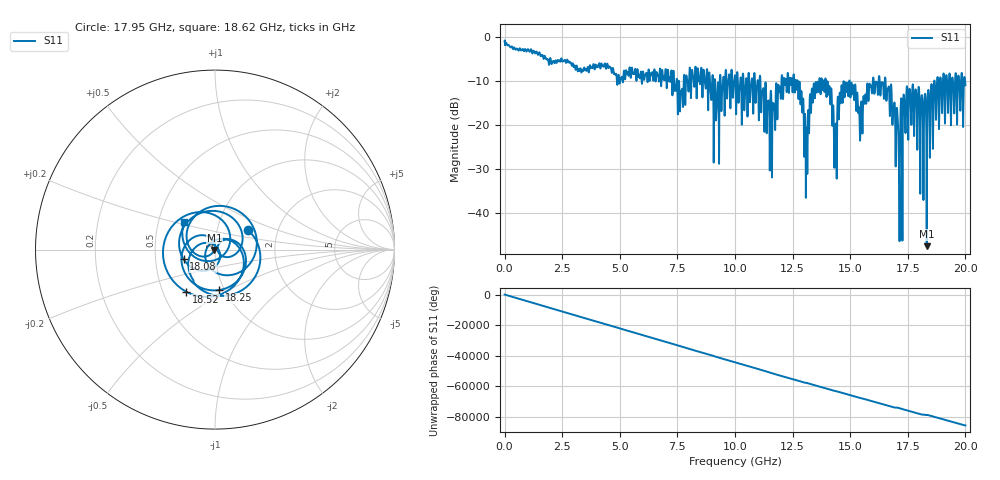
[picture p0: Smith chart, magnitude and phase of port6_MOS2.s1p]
! MS46122B
! 2250307/22442219
! 6/16/2025 12:57:20 PM
! C:\USERS\SPARKY\DOCUMENTS\VNA_DATA\JUNE16_2025\295K\PORT6_MOS2.S1P
! CHANNEL.1
! TR.MEASUREMENT
! RAW.DATA
# GHZ S RI R 50.0
! FREQ.GHZ  S11RE  S11IM
!; PortSelection: Port_1
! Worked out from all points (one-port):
!   10001 points, 1 MHz to 20 GHz, reference 50 ohm
!   lowest |S11| = -47.5 dB at 18.32 GHz (marker M1), VSWR 1.01, Z = 49.6 - j0.19 ohm
!   |S11| at or under -10 dB: 13.94 GHz to 14.96 GHz (1.016 GHz wide, 7.03 % of centre); 14.97 GHz to 15.98 GHz (1.009 GHz wide, 6.52 % of centre); 16.54 GHz to 18.65 GHz (2.11 GHz wide, 12 % of centre) (the widest 3 of 70)
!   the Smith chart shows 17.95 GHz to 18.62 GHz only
!   S11 on the Smith chart (normalised r, x): 17.95 GHz: 1.40, +0.32; 18.08 GHz: 0.70, -0.08; 18.25 GHz: 0.94, -0.45; 18.52 GHz: 0.66, -0.34; 18.62 GHz: 0.68, +0.22
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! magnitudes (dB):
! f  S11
! 1 MHz  -1.0
! 2.501 GHz  -5.4
! 5.001 GHz  -10.5
! 7.501 GHz  -12.1
! 10 GHz  -8.6
! 10.91 GHz  -13.1
! 11.59 GHz  -17.0
! 11.96 GHz  -11.7
! 12.5 GHz  -12.5
! 12.88 GHz  -12.3
! 13.08 GHz  -32.6
! 13.59 GHz  -10.1
! 14.1 GHz  -11.1
! 14.33 GHz  -23.4
! 14.63 GHz  -11.0
! 15 GHz  -13.1
! 15.45 GHz  -18.9
! 15.92 GHz  -11.5
! 16.59 GHz  -13.1
! 17.06 GHz  -18.8
! 17.5 GHz  -16.6
! 17.95 GHz  -13.5
! 18.08 GHz  -14.8
! 18.25 GHz  -12.9
! 18.32 GHz  -47.5
! 18.52 GHz  -10.9
! 18.62 GHz  -12.8
! 20 GHz  -10.9
